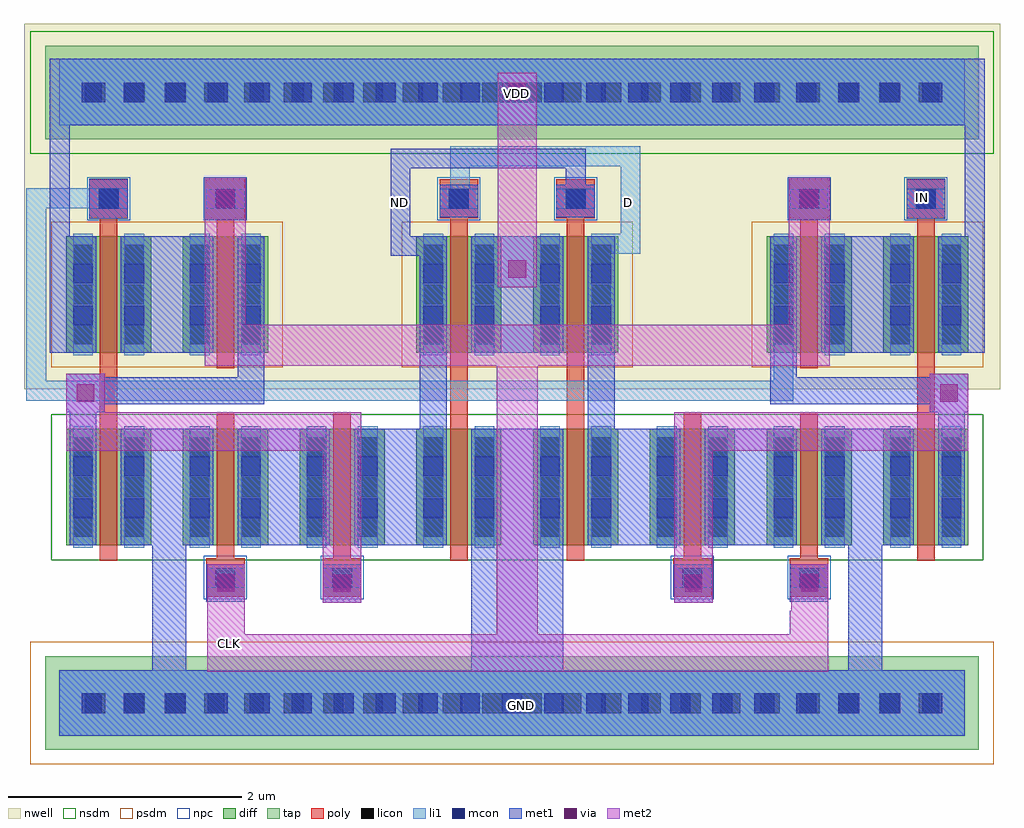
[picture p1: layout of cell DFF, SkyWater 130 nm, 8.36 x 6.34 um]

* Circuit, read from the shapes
.subckt DFF CLK D GND IN ND VDD
XM1 GND n1 n2 GND sky130_fd_pr__nfet_01v8 w=1 l=0.15
XM2 n3 CLK GND GND sky130_fd_pr__nfet_01v8 w=1 l=0.15
XM3 ND n2 n3 GND sky130_fd_pr__nfet_01v8 w=1 l=0.15
XM4 GND D ND GND sky130_fd_pr__nfet_01v8 w=1 l=0.15
XM5 D ND GND GND sky130_fd_pr__nfet_01v8 w=1 l=0.15
XM6 n4 n1 D GND sky130_fd_pr__nfet_01v8 w=1 l=0.15
XM7 GND CLK n4 GND sky130_fd_pr__nfet_01v8 w=1 l=0.15
XM8 n1 IN GND GND sky130_fd_pr__nfet_01v8 w=1 l=0.15
XM9 n5 n1 VDD VDD sky130_fd_pr__pfet_01v8 w=1 l=0.15
XM10 n2 CLK n5 VDD sky130_fd_pr__pfet_01v8 w=1 l=0.15
XM11 VDD D ND VDD sky130_fd_pr__pfet_01v8 w=1 l=0.15
XM12 D ND VDD VDD sky130_fd_pr__pfet_01v8 w=1 l=0.15
XM13 n6 CLK n1 VDD sky130_fd_pr__pfet_01v8 w=1 l=0.15
XM14 VDD IN n6 VDD sky130_fd_pr__pfet_01v8 w=1 l=0.15
.ends

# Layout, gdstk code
import gdstk
lib = gdstk.Library(unit=1e-6, precision=1e-09)
def R(c, l, rs):  # rectangles x0, y0, x1, y1
    for r in rs: c.add(gdstk.rectangle(r[:2], r[2:], *l))
def A(c, l, x, y, w, h, nx, ny, dx, dy):  # array of equal rectangles
    R(c, l, [(x+i*dx, y+j*dy, x+i*dx+w, y+j*dy+h) for i in range(nx) for j in range(ny)])
nwell = (64, 20)
diff = (65, 20)
tap = (65, 44)
poly = (66, 20)
licon = (66, 44)
li1 = (67, 20)
mcon = (67, 44)
met1 = (68, 20)
via = (68, 44)
met2 = (69, 20)
nsdm = (93, 44)
psdm = (94, 20)
npc = (95, 20)

dff = lib.new_cell('DFF')
R(dff, nwell, [(-3.18,0,5.18,3.13)])
A(dff, diff, -2.82, -1.34, 0.73, 1, 8, 1, 1, 0)
R(dff, diff, [(-2.82,0.31,-2.09,1.31), (-1.82,0.31,-1.09,1.31), (0.18,0.31,0.91,1.31), (1.18,0.31,1.91,1.31), (3.18,0.31,3.91,1.31), (4.18,0.31,4.91,1.31)])
R(dff, tap, [(-3,-3.09,5,-2.29), (-3,2.14,5,2.94)])
R(dff, poly, [(-1.62,-1.78,-1.29,-1.45), (-0.62,-1.78,-0.29,-1.45), (2.38,-1.78,2.71,-1.45), (3.38,-1.78,3.71,-1.45), (-2.53,-1.47,-2.38,1.465), (0.47,-1.47,0.62,1.465), (1.47,-1.47,1.62,1.465), (4.47,-1.47,4.62,1.465), (-1.53,-1.45,-1.38,-0.21), (-0.53,-1.45,-0.38,-0.21), (2.47,-1.45,2.62,-0.21), (3.47,-1.45,3.62,-0.21), (-1.53,0.18,-1.38,1.465), (3.47,0.18,3.62,1.465), (-2.62,1.465,-2.29,1.795), (-1.62,1.465,-1.29,1.795), (0.38,1.465,0.71,1.795), (1.38,1.465,1.71,1.795), (3.38,1.465,3.71,1.795), (4.38,1.465,4.71,1.795)])
A(dff, licon, -2.655, -2.775, 0.17, 0.17, 22, 2, 0.34, 5.23)
A(dff, licon, -2.76, -1.265, 0.17, 0.17, 1, 3, 0, 0.34)
A(dff, licon, -2.32, -1.265, 0.17, 0.17, 1, 3, 0, 0.34)
A(dff, licon, -1.76, -1.265, 0.17, 0.17, 1, 3, 0, 0.34)
A(dff, licon, -1.32, -1.265, 0.17, 0.17, 1, 3, 0, 0.34)
A(dff, licon, -0.76, -1.265, 0.17, 0.17, 1, 3, 0, 0.34)
A(dff, licon, -0.32, -1.265, 0.17, 0.17, 1, 3, 0, 0.34)
A(dff, licon, 0.24, -1.265, 0.17, 0.17, 1, 3, 0, 0.34)
A(dff, licon, 0.68, -1.265, 0.17, 0.17, 1, 3, 0, 0.34)
A(dff, licon, 1.24, -1.265, 0.17, 0.17, 1, 3, 0, 0.34)
A(dff, licon, 1.68, -1.265, 0.17, 0.17, 1, 3, 0, 0.34)
A(dff, licon, 2.24, -1.265, 0.17, 0.17, 1, 3, 0, 0.34)
A(dff, licon, 2.68, -1.265, 0.17, 0.17, 1, 3, 0, 0.34)
A(dff, licon, 3.24, -1.265, 0.17, 0.17, 1, 3, 0, 0.34)
A(dff, licon, 3.68, -1.265, 0.17, 0.17, 1, 3, 0, 0.34)
A(dff, licon, 4.24, -1.265, 0.17, 0.17, 1, 3, 0, 0.34)
A(dff, licon, 4.68, -1.265, 0.17, 0.17, 1, 3, 0, 0.34)
A(dff, licon, -2.76, 0.385, 0.17, 0.17, 1, 3, 0, 0.34)
A(dff, licon, -2.32, 0.385, 0.17, 0.17, 1, 3, 0, 0.34)
A(dff, licon, -1.76, 0.385, 0.17, 0.17, 1, 3, 0, 0.34)
A(dff, licon, -1.32, 0.385, 0.17, 0.17, 1, 3, 0, 0.34)
A(dff, licon, 0.24, 0.385, 0.17, 0.17, 1, 3, 0, 0.34)
A(dff, licon, 0.68, 0.385, 0.17, 0.17, 1, 3, 0, 0.34)
A(dff, licon, 1.24, 0.385, 0.17, 0.17, 1, 3, 0, 0.34)
A(dff, licon, 1.68, 0.385, 0.17, 0.17, 1, 3, 0, 0.34)
A(dff, licon, 3.24, 0.385, 0.17, 0.17, 1, 3, 0, 0.34)
A(dff, licon, 3.68, 0.385, 0.17, 0.17, 1, 3, 0, 0.34)
A(dff, licon, 4.24, 0.385, 0.17, 0.17, 1, 3, 0, 0.34)
A(dff, licon, 4.68, 0.385, 0.17, 0.17, 1, 3, 0, 0.34)
R(dff, licon, [(-1.54,-1.7,-1.37,-1.53), (-0.54,-1.7,-0.37,-1.53), (2.46,-1.7,2.63,-1.53), (3.46,-1.7,3.63,-1.53), (-2.54,1.545,-2.37,1.715), (-1.54,1.545,-1.37,1.715), (0.46,1.545,0.63,1.715), (1.46,1.545,1.63,1.715), (3.46,1.545,3.63,1.715), (4.46,1.545,4.63,1.715)])
R(dff, li1, [(-2.88,-2.97,4.88,-2.41), (-1.62,-1.7,-1.29,-1.53), (-0.62,-1.7,-0.29,-1.53), (2.38,-1.7,2.71,-1.53), (3.38,-1.7,3.71,-1.53), (-2.76,-1.36,-2.59,-0.32), (-2.32,-1.36,-2.15,-0.32), (-1.76,-1.36,-1.59,-0.32), (-1.32,-1.36,-1.15,-0.32), (-0.76,-1.36,-0.59,-0.32), (-0.32,-1.36,-0.15,-0.32), (0.24,-1.36,0.41,-0.32), (0.68,-1.36,0.85,-0.32), (1.24,-1.36,1.41,-0.32), (1.68,-1.36,1.85,-0.32), (2.24,-1.36,2.41,-0.32), (2.68,-1.36,2.85,-0.32), (3.24,-1.36,3.41,-0.32), (3.68,-1.36,3.85,-0.32), (4.24,-1.36,4.41,-0.32), (4.68,-1.36,4.85,-0.32), (-3.16,-0.1,3.41,0.07), (-3.16,0.07,-2.99,1.55), (3.24,0.07,3.41,1.33), (-2.76,0.29,-2.59,1.33), (-2.32,0.29,-2.15,1.33), (-1.76,0.29,-1.59,1.33), (-1.32,0.29,-1.15,1.33), (0.24,0.29,0.41,1.33), (0.68,0.29,0.85,1.33), (1.24,0.29,1.41,1.33), (1.68,0.29,1.85,1.16), (3.68,0.29,3.85,1.33), (4.24,0.29,4.41,1.33), (4.68,0.29,4.85,1.33), (1.68,1.16,2.1,1.33), (1.93,1.33,2.1,1.91), (-2.62,1.545,-2.29,1.55), (-1.62,1.545,-1.29,1.715), (0.38,1.545,0.71,1.715), (1.38,1.545,1.71,1.715), (3.38,1.545,3.71,1.715), (4.38,1.545,4.71,1.715), (-3.16,1.55,-2.29,1.72), (0.47,1.715,0.64,1.91), (0.47,1.91,2.1,2.08), (-2.88,2.26,4.88,2.83)])
A(dff, mcon, -2.685, -2.775, 0.17, 0.17, 21, 2, 0.36, 5.23)
R(dff, mcon, [(-1.54,-1.7,-1.37,-1.53), (-0.54,-1.7,-0.37,-1.53), (2.46,-1.7,2.63,-1.53), (3.46,-1.7,3.63,-1.53), (-2.76,-1.105,-2.59,-0.935), (-2.32,-1.105,-2.15,-0.935), (-1.76,-1.105,-1.59,-0.935), (-1.32,-1.105,-1.15,-0.935), (-0.76,-1.105,-0.59,-0.935), (-0.32,-1.105,-0.15,-0.935), (0.24,-1.105,0.41,-0.935), (0.68,-1.105,0.85,-0.935), (1.24,-1.105,1.41,-0.935), (1.68,-1.105,1.85,-0.935), (2.24,-1.105,2.41,-0.935), (2.68,-1.105,2.85,-0.935), (3.24,-1.105,3.41,-0.935), (3.68,-1.105,3.85,-0.935), (4.24,-1.105,4.41,-0.935), (4.68,-1.105,4.85,-0.935), (-2.76,-0.745,-2.59,-0.575), (-2.32,-0.745,-2.15,-0.575), (-1.76,-0.745,-1.59,-0.575), (-1.32,-0.745,-1.15,-0.575), (-0.76,-0.745,-0.59,-0.575), (-0.32,-0.745,-0.15,-0.575), (0.24,-0.745,0.41,-0.575), (0.68,-0.745,0.85,-0.575), (1.24,-0.745,1.41,-0.575), (1.68,-0.745,1.85,-0.575), (2.24,-0.745,2.41,-0.575), (2.68,-0.745,2.85,-0.575), (3.24,-0.745,3.41,-0.575), (3.68,-0.745,3.85,-0.575), (4.24,-0.745,4.41,-0.575), (4.68,-0.745,4.85,-0.575), (-2.76,0.545,-2.59,0.715), (-2.32,0.545,-2.15,0.715), (-1.76,0.545,-1.59,0.715), (-1.32,0.545,-1.15,0.715), (0.24,0.545,0.41,0.715), (0.68,0.545,0.85,0.715), (1.24,0.545,1.41,0.715), (1.68,0.545,1.85,0.715), (3.24,0.545,3.41,0.715), (3.68,0.545,3.85,0.715), (4.24,0.545,4.41,0.715), (4.68,0.545,4.85,0.715), (-2.76,0.905,-2.59,1.075), (-2.32,0.905,-2.15,1.075), (-1.76,0.905,-1.59,1.075), (-1.32,0.905,-1.15,1.075), (0.24,0.905,0.41,1.075), (0.68,0.905,0.85,1.075), (1.24,0.905,1.41,1.075), (1.68,0.905,1.85,1.075), (3.24,0.905,3.41,1.075), (3.68,0.905,3.85,1.075), (4.24,0.905,4.41,1.075), (4.68,0.905,4.85,1.075), (-2.54,1.545,-2.37,1.715), (-1.54,1.545,-1.37,1.715), (0.46,1.545,0.63,1.715), (1.46,1.545,1.63,1.715), (3.46,1.545,3.63,1.715), (4.46,1.545,4.63,1.715)])
A(dff, met1, -2.35, -1.34, 0.79, 1, 3, 1, 1, 0)
A(dff, met1, 1.65, -1.34, 0.79, 1, 3, 1, 1, 0)
A(dff, met1, -2.35, 0.31, 0.79, 1, 3, 1, 3, 0)
R(dff, met1, [(-2.88,-2.97,4.88,-2.41), (-2.08,-2.41,-1.79,-1.34), (0.65,-2.41,1.44,-0.34), (3.88,-2.41,4.17,-1.34), (-0.62,-1.83,-0.29,-1.5), (2.39,-1.83,2.72,-1.78), (-1.62,-1.82,-1.29,-1.5), (3.38,-1.82,3.71,-1.5), (2.38,-1.78,2.72,-1.5), (-2.79,-1.34,-2.56,-0.2), (4.65,-1.34,4.88,-0.2), (0.21,-0.34,0.44,1.14), (1.65,-0.34,1.88,1.31), (-2.82,-0.2,-2.49,-0.13), (4.58,-0.2,4.91,-0.13), (-2.82,-0.13,-1.12,0.1), (3.21,-0.13,4.91,0.1), (-2.82,0.1,-2.49,0.13), (-1.35,0.1,-1.12,1.31), (3.21,0.1,3.44,1.31), (4.58,0.1,4.91,0.13), (-2.96,0.31,-2.56,1.31), (4.65,0.31,5.05,1.31), (-0.04,1.14,0.44,1.31), (-2.96,1.31,-2.79,2.26), (-0.04,1.31,0.13,1.89), (4.88,1.31,5.05,2.26), (-1.63,1.45,-1.28,1.81), (3.37,1.45,3.72,1.81), (-2.62,1.46,-2.29,1.8), (4.38,1.46,4.71,1.8), (0.38,1.47,0.71,1.75), (1.38,1.47,1.71,1.75), (1.46,1.75,1.63,1.89), (-0.04,1.89,1.63,2.06), (-2.96,2.26,5.05,2.83)])
R(dff, via, [(-0.53,-1.74,-0.38,-1.59), (2.48,-1.74,2.63,-1.59), (-1.525,-1.735,-1.375,-1.585), (3.475,-1.735,3.625,-1.585), (-2.73,-0.11,-2.58,0.04), (4.67,-0.11,4.82,0.04), (0.97,0.955,1.12,1.105), (-1.53,1.555,-1.38,1.705), (3.47,1.555,3.62,1.705), (0.97,2.475,1.12,2.625)])
R(dff, met2, [(-1.61,-2.42,3.71,-2.1), (-1.61,-2.1,-1.29,-1.5), (0.87,-2.1,1.22,0.2), (3.38,-2.1,3.71,-1.9), (3.39,-1.9,3.71,-1.5), (-0.62,-1.83,-0.29,-0.53), (2.39,-1.83,2.72,-0.53), (-2.82,-0.53,-0.29,-0.2), (2.39,-0.53,4.91,-0.2), (-2.82,-0.2,-2.49,0.13), (4.58,-0.2,4.91,0.13), (-1.63,0.2,3.72,0.55), (-1.63,0.55,-1.28,1.81), (3.37,0.55,3.72,1.81), (0.88,0.87,1.21,2.71)])
R(dff, nsdm, [(-2.945,-1.465,5.035,-0.215), (-3.125,2.015,5.125,3.065)])
A(dff, psdm, -2.945, 0.185, 1.98, 1.25, 3, 1, 3, 0)
R(dff, psdm, [(-3.125,-3.215,5.125,-2.165)])
R(dff, npc, [(-1.64,-1.8,-1.27,-1.43), (-0.64,-1.8,-0.27,-1.43), (2.36,-1.8,2.73,-1.43), (3.36,-1.8,3.73,-1.43), (-2.64,1.445,-2.27,1.815), (-1.64,1.445,-1.27,1.815), (0.36,1.445,0.73,1.815), (1.36,1.445,1.73,1.815), (3.36,1.445,3.73,1.815), (4.36,1.445,4.73,1.815)])
dff.add(gdstk.Label('GND', (1.08,-2.71), layer=68, texttype=5))
dff.add(gdstk.Label('IN', (4.52,1.64), layer=68, texttype=5))
dff.add(gdstk.Label('ND', (0.04,1.6), layer=68, texttype=5))
dff.add(gdstk.Label('IN', (4.52,1.64), layer=68, texttype=5))
dff.add(gdstk.Label('ND', (0.04,1.6), layer=68, texttype=5))
dff.add(gdstk.Label('GND', (1.08,-2.71), layer=68, texttype=5))
dff.add(gdstk.Label('D', (2,1.6), layer=67, texttype=5))
dff.add(gdstk.Label('D', (2,1.6), layer=67, texttype=5))
dff.add(gdstk.Label('VDD', (1.04,2.53), layer=69, texttype=5))
dff.add(gdstk.Label('CLK', (-1.42,-2.18), layer=69, texttype=5))
dff.add(gdstk.Label('CLK', (-1.42,-2.18), layer=69, texttype=5))
dff.add(gdstk.Label('VDD', (1.04,2.53), layer=69, texttype=5))

lib.write_gds('DFF.gds')
